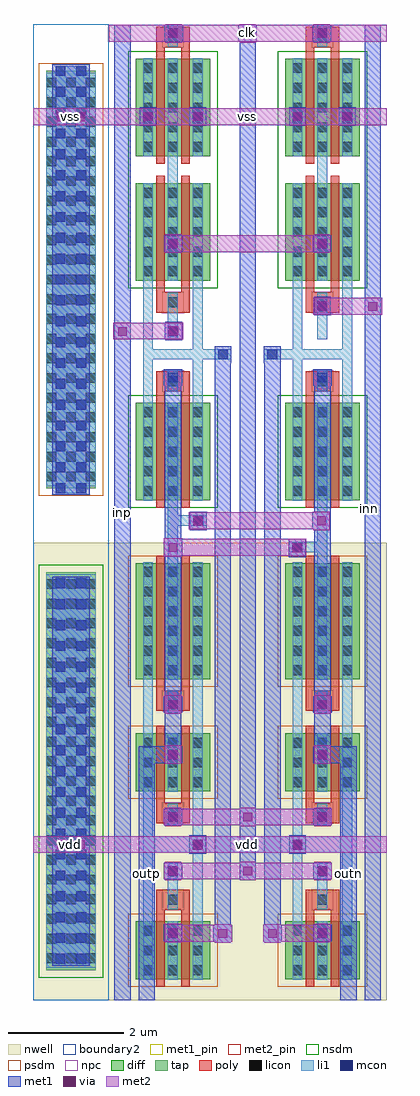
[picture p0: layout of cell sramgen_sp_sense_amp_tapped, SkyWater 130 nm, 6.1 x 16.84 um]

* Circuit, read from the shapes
.subckt sramgen_sp_sense_amp_tapped clk inn inp outn outp vdd vss
XM1 outn outp n1 vss sky130_fd_pr__nfet_01v8 w=1.68 l=0.15 m=2
XM2 n2 inp n1 vss sky130_fd_pr__nfet_01v8 w=1.68 l=0.15 m=2
XM3 n2 clk vss vss sky130_fd_pr__nfet_01v8 w=1.68 l=0.15 m=4
XM4 outp outn n3 vss sky130_fd_pr__nfet_01v8 w=1.68 l=0.15 m=2
XM5 n2 inn n3 vss sky130_fd_pr__nfet_01v8 w=1.68 l=0.15 m=2
XM6 n1 clk vdd vdd sky130_fd_pr__pfet_01v8 w=1 l=0.15 m=2
XM7 outp clk vdd vdd sky130_fd_pr__pfet_01v8 w=1 l=0.15 m=2
XM8 outn outp vdd vdd sky130_fd_pr__pfet_01v8 w=2 l=0.15 m=2
XM9 n3 clk vdd vdd sky130_fd_pr__pfet_01v8 w=1 l=0.15 m=2
XM10 outn clk vdd vdd sky130_fd_pr__pfet_01v8 w=1 l=0.15 m=2
XM11 outp outn vdd vdd sky130_fd_pr__pfet_01v8 w=2 l=0.15 m=2
.ends

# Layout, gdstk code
import gdstk
lib = gdstk.Library(unit=1e-6, precision=1e-09)
def R(c, l, rs):  # rectangles x0, y0, x1, y1
    for r in rs: c.add(gdstk.rectangle(r[:2], r[2:], *l))
def A(c, l, x, y, w, h, nx, ny, dx, dy):  # array of equal rectangles
    R(c, l, [(x+i*dx, y+j*dy, x+i*dx+w, y+j*dy+h) for i in range(nx) for j in range(ny)])
def P(c, l, *ps):  # polygons
    for p in ps: c.add(gdstk.Polygon(p, *l))
nwell = (64, 20)
diff = (65, 20)
tap = (65, 44)
poly = (66, 20)
licon = (66, 44)
li1 = (67, 20)
mcon = (67, 44)
met1_pin = (68, 16)
met1 = (68, 20)
via = (68, 44)
met2_pin = (69, 16)
met2 = (69, 20)
nsdm = (93, 44)
psdm = (94, 20)
npc = (95, 20)
boundary2 = (236, 0)

sramgen_sp_sense_amp_tap = lib.new_cell('sramgen_sp_sense_amp_tapped')
R(sramgen_sp_sense_amp_tap, nwell, [(0,32.785,1.3,40.68), (1.3,32.785,6.1,40.68)])
R(sramgen_sp_sense_amp_tap, diff, [(1.765,33.14,3.055,34.14), (4.345,33.14,5.635,34.14), (1.765,36.385,3.055,37.385), (4.345,36.385,5.635,37.385), (1.765,38.325,3.055,40.325), (4.345,38.325,5.635,40.325), (1.765,41.41,3.055,43.09), (4.345,41.41,5.635,43.09), (1.765,45.2,3.055,46.88), (4.345,45.2,5.635,46.88), (1.765,47.35,3.055,49.03), (4.345,47.35,5.635,49.03)])
R(sramgen_sp_sense_amp_tap, tap, [(0.225,33.3,1.075,40.17), (0.225,41.615,1.075,48.825)])
R(sramgen_sp_sense_amp_tap, poly, [(2.27,34.38,2.55,34.65), (4.85,34.38,5.13,34.65), (2.27,35.875,2.55,36.145), (4.85,35.875,5.13,36.145), (2.27,37.815,2.55,38.085), (4.85,37.815,5.13,38.085), (2.27,43.33,2.55,43.6), (4.85,43.33,5.13,43.6), (2.27,44.69,2.55,44.96), (4.85,44.69,5.13,44.96), (2.27,49.27,2.55,49.54), (4.85,49.27,5.13,49.54)])
P(sramgen_sp_sense_amp_tap, poly, [(2.12,44.65),(2.12,47.01),(2.27,47.01),(2.27,45),(2.55,45),(2.55,47.01),(2.7,47.01),(2.7,44.65)],
  [(2.12,37.775),(2.12,40.455),(2.27,40.455),(2.27,38.125),(2.55,38.125),(2.55,40.455),(2.7,40.455),(2.7,37.775)],
  [(2.12,35.835),(2.12,37.515),(2.27,37.515),(2.27,36.185),(2.55,36.185),(2.55,37.515),(2.7,37.515),(2.7,35.835)],
  [(2.12,33.01),(2.12,34.69),(2.7,34.69),(2.7,33.01),(2.55,33.01),(2.55,34.34),(2.27,34.34),(2.27,33.01)],
  [(2.12,41.28),(2.12,43.64),(2.7,43.64),(2.7,41.28),(2.55,41.28),(2.55,43.29),(2.27,43.29),(2.27,41.28)],
  [(2.12,47.22),(2.12,49.58),(2.7,49.58),(2.7,47.22),(2.55,47.22),(2.55,49.23),(2.27,49.23),(2.27,47.22)],
  [(4.7,44.65),(4.7,47.01),(4.85,47.01),(4.85,45),(5.13,45),(5.13,47.01),(5.28,47.01),(5.28,44.65)],
  [(4.7,37.775),(4.7,40.455),(4.85,40.455),(4.85,38.125),(5.13,38.125),(5.13,40.455),(5.28,40.455),(5.28,37.775)],
  [(4.7,35.835),(4.7,37.515),(4.85,37.515),(4.85,36.185),(5.13,36.185),(5.13,37.515),(5.28,37.515),(5.28,35.835)],
  [(4.7,33.01),(4.7,34.69),(5.28,34.69),(5.28,33.01),(5.13,33.01),(5.13,34.34),(4.85,34.34),(4.85,33.01)],
  [(4.7,41.28),(4.7,43.64),(5.28,43.64),(5.28,41.28),(5.13,41.28),(5.13,43.29),(4.85,43.29),(4.85,41.28)],
  [(4.7,47.22),(4.7,49.58),(5.28,49.58),(5.28,47.22),(5.13,47.22),(5.13,49.23),(4.85,49.23),(4.85,47.22)])
A(sramgen_sp_sense_amp_tap, licon, 1.895, 33.215, 0.17, 0.17, 3, 3, 0.43, 0.34)
A(sramgen_sp_sense_amp_tap, licon, 4.475, 33.215, 0.17, 0.17, 3, 3, 0.43, 0.34)
A(sramgen_sp_sense_amp_tap, licon, 0.225, 33.42, 0.17, 0.17, 3, 20, 0.34, 0.34)
A(sramgen_sp_sense_amp_tap, licon, 1.895, 36.46, 0.17, 0.17, 3, 3, 0.43, 0.34)
A(sramgen_sp_sense_amp_tap, licon, 4.475, 36.46, 0.17, 0.17, 3, 3, 0.43, 0.34)
A(sramgen_sp_sense_amp_tap, licon, 1.895, 38.39, 0.17, 0.17, 3, 6, 0.43, 0.34)
A(sramgen_sp_sense_amp_tap, licon, 4.475, 38.39, 0.17, 0.17, 3, 6, 0.43, 0.34)
A(sramgen_sp_sense_amp_tap, licon, 1.895, 41.485, 0.17, 0.17, 3, 5, 0.43, 0.34)
A(sramgen_sp_sense_amp_tap, licon, 4.475, 41.485, 0.17, 0.17, 3, 5, 0.43, 0.34)
A(sramgen_sp_sense_amp_tap, licon, 0.225, 41.735, 0.17, 0.17, 3, 21, 0.34, 0.34)
A(sramgen_sp_sense_amp_tap, licon, 1.895, 45.275, 0.17, 0.17, 3, 5, 0.43, 0.34)
A(sramgen_sp_sense_amp_tap, licon, 4.475, 45.275, 0.17, 0.17, 3, 5, 0.43, 0.34)
A(sramgen_sp_sense_amp_tap, licon, 1.895, 47.425, 0.17, 0.17, 3, 5, 0.43, 0.34)
A(sramgen_sp_sense_amp_tap, licon, 4.475, 47.425, 0.17, 0.17, 3, 5, 0.43, 0.34)
R(sramgen_sp_sense_amp_tap, licon, [(2.325,34.43,2.495,34.6), (4.905,34.43,5.075,34.6), (2.325,35.925,2.495,36.095), (4.905,35.925,5.075,36.095), (2.325,37.865,2.495,38.035), (4.905,37.865,5.075,38.035), (2.325,43.38,2.495,43.55), (4.905,43.38,5.075,43.55), (2.325,44.74,2.495,44.91), (4.905,44.74,5.075,44.91), (2.325,49.32,2.495,49.49), (4.905,49.32,5.075,49.49)])
A(sramgen_sp_sense_amp_tap, li1, 1.895, 38.31, 0.17, 2.03, 3, 1, 0.43, 0)
A(sramgen_sp_sense_amp_tap, li1, 4.475, 38.31, 0.17, 2.03, 3, 1, 0.43, 0)
A(sramgen_sp_sense_amp_tap, li1, 1.895, 41.405, 0.17, 1.69, 3, 2, 0.43, 3.79)
A(sramgen_sp_sense_amp_tap, li1, 4.475, 41.405, 0.17, 1.69, 3, 2, 0.43, 3.79)
A(sramgen_sp_sense_amp_tap, li1, 1.895, 47.345, 0.17, 1.69, 3, 1, 0.43, 0)
A(sramgen_sp_sense_amp_tap, li1, 4.475, 47.345, 0.17, 1.69, 3, 1, 0.43, 0)
R(sramgen_sp_sense_amp_tap, li1, [(1.895,33.135,2.065,40.34), (1.895,33.135,2.065,34.145), (2.325,33.135,2.495,34.145), (2.325,33.135,2.495,34.145), (2.755,33.135,2.925,40.34), (2.755,33.135,2.925,34.145), (4.475,33.135,4.645,40.34), (4.475,33.135,4.645,34.145), (4.905,33.135,5.075,34.145), (4.905,33.135,5.075,34.145), (5.335,33.135,5.505,40.34), (5.335,33.135,5.505,34.145), (0.225,33.34,1.075,40.13), (0.385,33.41,0.915,40.06), (2.325,33.79,2.495,34.08), (4.905,33.79,5.075,34.08), (2.325,34.35,2.495,34.68), (2.325,34.35,2.495,34.68), (2.325,34.35,2.495,35.155), (4.905,34.35,5.075,34.68), (4.905,34.35,5.075,34.68), (4.905,34.35,5.075,35.155), (2.325,34.865,2.495,35.155), (4.905,34.865,5.075,35.155), (2.755,35.32,2.925,35.61), (4.475,35.32,4.645,35.61), (1.895,35.325,5.505,35.615), (2.325,35.8,2.495,36.09), (2.325,35.8,2.495,36.175), (4.905,35.8,5.075,36.09), (4.905,35.8,5.075,36.175), (2.325,35.845,2.495,36.175), (2.325,35.845,2.495,36.175), (4.905,35.845,5.075,36.175), (4.905,35.845,5.075,36.175), (1.895,36.38,2.065,37.39), (2.325,36.38,2.495,37.39), (2.325,36.38,2.495,37.39), (2.755,36.38,2.925,37.39), (4.475,36.38,4.645,37.39), (4.905,36.38,5.075,37.39), (4.905,36.38,5.075,37.39), (5.335,36.38,5.505,37.39), (2.325,36.875,2.495,37.165), (4.905,36.875,5.075,37.165), (2.325,37.74,2.495,38.03), (2.325,37.74,2.495,38.115), (4.905,37.74,5.075,38.03), (4.905,37.74,5.075,38.115), (2.325,37.785,2.495,38.115), (2.325,37.785,2.495,38.115), (4.905,37.785,5.075,38.115), (4.905,37.785,5.075,38.115), (2.325,38.31,2.495,42.755), (2.325,38.31,2.495,42.755), (4.905,38.31,5.075,42.755), (4.905,38.31,5.075,42.755), (4.41,40.51,4.7,40.68), (4.41,40.51,5.05,40.695), (2.335,40.97,2.99,41.155), (2.7,40.97,2.99,41.14), (1.895,41.405,2.065,46.785), (2.755,41.405,2.925,46.785), (4.475,41.405,4.645,46.785), (5.335,41.405,5.505,46.785), (0.385,41.535,0.915,48.905), (0.225,41.655,1.075,48.785), (2.325,43.3,2.495,43.675), (2.325,43.3,2.495,43.63), (2.325,43.3,2.495,43.63), (4.905,43.3,5.075,43.675), (4.905,43.3,5.075,43.63), (4.905,43.3,5.075,43.63), (2.325,43.385,2.495,43.675), (4.905,43.385,5.075,43.675), (1.94,43.755,1.945,43.76), (5.455,43.755,5.46,43.76), (3.19,43.84,3.36,44.01), (4.04,43.84,4.21,44.01), (1.945,43.845,3.42,44.015), (3.98,43.845,5.455,44.015), (2.325,44.185,2.495,44.99), (4.905,44.185,5.075,44.99), (2.325,44.245,2.495,44.415), (2.325,44.66,2.495,44.99), (2.325,44.66,2.495,44.99), (4.905,44.66,5.075,44.99), (4.905,44.66,5.075,44.99), (4.905,44.675,5.075,44.845), (2.325,45.69,2.495,45.98), (2.325,45.69,2.495,49.035), (4.905,45.69,5.075,45.98), (4.905,45.69,5.075,49.035), (1.895,47.875,2.065,48.165), (2.755,47.875,2.925,48.165), (4.475,47.875,4.645,48.165), (5.335,47.875,5.505,48.165), (2.325,49.24,2.495,49.615), (2.325,49.24,2.495,49.57), (2.325,49.24,2.495,49.57), (4.905,49.24,5.075,49.615), (4.905,49.24,5.075,49.57), (4.905,49.24,5.075,49.57), (2.325,49.325,2.495,49.615), (4.905,49.325,5.075,49.615)])
A(sramgen_sp_sense_amp_tap, mcon, 0.385, 33.41, 0.17, 0.17, 1, 19, 0, 0.36)
A(sramgen_sp_sense_amp_tap, mcon, 0.745, 33.41, 0.17, 0.17, 1, 19, 0, 0.36)
A(sramgen_sp_sense_amp_tap, mcon, 0.385, 41.535, 0.17, 0.17, 1, 21, 0, 0.36)
A(sramgen_sp_sense_amp_tap, mcon, 0.745, 41.535, 0.17, 0.17, 1, 21, 0, 0.36)
R(sramgen_sp_sense_amp_tap, mcon, [(2.325,33.85,2.495,34.02), (4.905,33.85,5.075,34.02), (2.325,34.925,2.495,35.095), (4.905,34.925,5.075,35.095), (2.755,35.38,2.925,35.55), (4.475,35.38,4.645,35.55), (2.325,35.86,2.495,36.03), (4.905,35.86,5.075,36.03), (2.325,36.935,2.495,37.105), (4.905,36.935,5.075,37.105), (2.325,37.8,2.495,37.97), (4.905,37.8,5.075,37.97), (4.47,40.51,4.64,40.68), (2.76,40.97,2.93,41.14), (2.325,43.445,2.495,43.615), (4.905,43.445,5.075,43.615), (3.19,43.84,3.36,44.01), (4.04,43.84,4.21,44.01), (2.325,44.245,2.495,44.415), (4.905,44.675,5.075,44.845), (2.325,45.75,2.495,45.92), (4.905,45.75,5.075,45.92), (1.895,47.935,2.065,48.105), (2.755,47.935,2.925,48.105), (4.475,47.935,4.645,48.105), (5.335,47.935,5.505,48.105), (2.325,49.385,2.495,49.555), (4.905,49.385,5.075,49.555)])
R(sramgen_sp_sense_amp_tap, met1_pin, [(1.4,32.785,1.68,49.615), (1.82,32.785,2.1,37.165), (5.3,32.785,5.58,37.165), (5.72,32.785,6,49.615)])
A(sramgen_sp_sense_amp_tap, met1, 2.26, 49.325, 0.32, 0.29, 3, 1, 1.28, 0)
R(sramgen_sp_sense_amp_tap, met1, [(1.4,32.785,1.68,49.615), (1.4,32.785,1.68,49.615), (1.82,32.785,2.1,37.165), (1.82,32.785,2.1,37.165), (5.3,32.785,5.58,37.165), (5.3,32.785,5.58,37.165), (5.72,32.785,6,49.615), (5.72,32.785,6,49.615), (0.325,33.38,0.975,40.09), (3.13,33.775,3.41,44.05), (3.99,33.775,4.27,44.05), (2.265,33.79,2.555,34.08), (3.11,33.79,3.43,34.08), (3.97,33.79,4.29,34.08), (4.845,33.79,5.135,34.08), (2.25,33.8,2.57,34.09), (4.83,33.8,5.15,34.09), (3.56,34.85,3.84,49.615), (2.25,34.865,2.57,35.155), (2.265,34.865,2.56,35.155), (4.83,34.865,5.15,35.155), (4.845,34.865,5.135,35.155), (2.695,35.305,2.985,35.625), (2.695,35.305,2.985,35.595), (4.415,35.305,4.705,35.625), (4.415,35.305,4.705,35.595), (0.33,35.34,0.97,35.6), (2.25,35.8,2.57,36.09), (2.265,35.8,2.555,36.09), (4.83,35.8,5.15,36.09), (4.845,35.8,5.135,36.09), (2.27,36.86,2.55,43.675), (4.85,36.86,5.13,43.675), (4.85,36.86,5.13,43.35), (1.82,36.875,2.57,37.165), (2.25,36.875,2.57,37.165), (2.265,36.875,2.555,37.165), (4.83,36.875,5.15,37.165), (4.83,36.875,5.58,37.165), (4.845,36.875,5.135,37.165), (2.25,37.74,2.57,38.03), (2.25,37.74,2.57,38.03), (2.265,37.74,2.555,38.03), (4.83,37.74,5.15,38.03), (4.83,37.74,5.15,38.03), (4.845,37.74,5.135,38.03), (4.41,40.43,4.7,40.75), (2.25,40.435,2.57,40.755), (4.41,40.45,4.7,40.74), (2.7,40.895,2.99,41.215), (2.7,40.91,2.99,41.2), (4.815,40.91,5.135,41.2), (0.325,41.505,0.975,48.935), (2.25,43.385,2.57,43.675), (2.265,43.385,2.555,43.675), (4.83,43.385,5.15,43.675), (4.845,43.385,5.135,43.675), (3.13,43.78,3.42,44.07), (3.98,43.78,4.27,44.07), (1.4,44.165,1.68,44.455), (1.4,44.165,1.68,44.485), (2.28,44.175,2.57,44.495), (2.265,44.185,2.555,44.475), (5.72,44.595,6,44.885), (5.72,44.595,6,44.915), (4.845,44.6,5.135,44.92), (2.265,45.69,2.555,45.98), (2.265,45.69,2.555,45.98), (4.845,45.69,5.135,45.98), (4.845,45.69,5.135,45.98), (2.26,45.695,2.58,45.985), (4.82,45.695,5.14,45.985), (1.835,47.875,2.125,48.195), (1.835,47.875,2.125,48.165), (2.695,47.875,2.985,48.195), (2.695,47.875,2.985,48.165), (4.415,47.875,4.705,48.195), (4.415,47.875,4.705,48.165), (5.275,47.875,5.565,48.195), (5.275,47.875,5.565,48.165), (0.33,47.9,0.97,48.16), (2.265,49.325,2.555,49.615), (4.845,49.325,5.135,49.615)])
A(sramgen_sp_sense_amp_tap, via, 2.335, 34.935, 0.15, 0.15, 3, 2, 1.29, 0.935)
A(sramgen_sp_sense_amp_tap, via, 2.345, 49.395, 0.15, 0.15, 3, 1, 1.28, 0)
R(sramgen_sp_sense_amp_tap, via, [(3.195,33.86,3.345,34.01), (4.055,33.86,4.205,34.01), (2.335,33.87,2.485,34.02), (4.915,33.87,5.065,34.02), (2.765,35.39,2.915,35.54), (4.485,35.39,4.635,35.54), (0.415,35.395,0.565,35.545), (0.735,35.395,0.885,35.545), (2.335,36.945,2.485,37.095), (4.915,36.945,5.065,37.095), (2.335,37.81,2.485,37.96), (4.915,37.81,5.065,37.96), (4.48,40.515,4.63,40.665), (2.335,40.52,2.485,40.67), (2.77,40.98,2.92,41.13), (4.9,40.98,5.05,41.13), (1.465,44.25,1.615,44.4), (2.35,44.26,2.5,44.41), (5.785,44.68,5.935,44.83), (4.915,44.685,5.065,44.835), (2.345,45.765,2.495,45.915), (4.905,45.765,5.055,45.915), (0.415,47.955,0.565,48.105), (0.735,47.955,0.885,48.105), (1.905,47.96,2.055,48.11), (2.765,47.96,2.915,48.11), (4.485,47.96,4.635,48.11), (5.345,47.96,5.495,48.11)])
R(sramgen_sp_sense_amp_tap, met2_pin, [(0,35.325,1.3,35.615), (0,35.325,1.3,35.615), (1.3,35.325,6.1,35.615), (1.3,35.325,6.1,35.615), (0,47.885,1.3,48.175), (0,47.885,1.3,48.175), (1.3,47.885,6.1,48.175), (1.3,47.885,6.1,48.175), (1.3,49.325,6.1,49.615), (1.3,49.325,6.1,49.615)])
A(sramgen_sp_sense_amp_tap, met2, 2.27, 34.85, 0.28, 0.32, 3, 2, 1.29, 0.935)
A(sramgen_sp_sense_amp_tap, met2, 1.82, 47.895, 0.32, 0.28, 3, 1, 0.43, 0)
A(sramgen_sp_sense_amp_tap, met2, 4.4, 47.895, 0.32, 0.28, 3, 1, 0.43, 0)
A(sramgen_sp_sense_amp_tap, met2, 2.28, 49.31, 0.28, 0.32, 3, 1, 1.28, 0)
R(sramgen_sp_sense_amp_tap, met2, [(3.13,33.775,3.41,34.095), (3.99,33.775,4.27,34.095), (2.27,33.785,2.55,34.105), (4.85,33.785,5.13,34.105), (2.265,33.79,3.43,34.08), (3.97,33.79,5.135,34.08), (2.25,34.865,5.15,35.155), (0,35.325,1.3,35.615), (0,35.325,1.3,35.615), (0,35.325,1.3,35.615), (1.3,35.325,6.1,35.615), (1.3,35.325,6.1,35.615), (1.3,35.325,6.1,35.615), (2.68,35.325,3,35.605), (4.4,35.325,4.72,35.605), (0.33,35.34,0.97,35.6), (2.25,35.8,5.15,36.09), (2.27,36.86,2.55,37.18), (4.85,36.86,5.13,37.18), (2.27,37.725,2.55,38.045), (4.85,37.725,5.13,38.045), (2.25,40.435,2.57,40.755), (4.395,40.45,4.715,40.73), (2.25,40.455,4.715,40.745), (4.835,40.895,5.115,41.215), (2.685,40.91,5.115,41.2), (2.685,40.915,3.005,41.195), (1.38,44.185,2.585,44.475), (2.265,44.195,2.585,44.475), (4.83,44.615,6.02,44.905), (2.28,45.68,2.56,46), (4.84,45.68,5.12,46), (2.265,45.69,5.135,45.98), (0,47.885,1.3,48.175), (0,47.885,1.3,48.175), (0,47.885,1.3,48.175), (1.3,47.885,6.1,48.175), (1.3,47.885,6.1,48.175), (1.3,47.885,6.1,48.175), (0.33,47.9,0.97,48.16), (1.3,49.325,6.1,49.615), (1.3,49.325,6.1,49.615), (1.3,49.325,6.1,49.615), (2.265,49.325,5.135,49.615), (3.85,49.325,4.855,49.615)])
R(sramgen_sp_sense_amp_tap, nsdm, [(0.095,33.17,1.205,40.3), (1.635,41.28,3.185,43.22), (4.215,41.28,5.765,43.22), (1.635,45.07,3.185,47.01), (4.215,45.07,5.765,47.01), (1.635,47.01,3.185,49.16), (4.215,47.01,5.765,49.16)])
R(sramgen_sp_sense_amp_tap, psdm, [(1.635,33.01,3.185,34.27), (4.215,33.01,5.765,34.27), (1.635,36.255,3.185,37.515), (4.215,36.255,5.765,37.515), (1.635,38.195,3.185,40.455), (4.215,38.195,5.765,40.455), (0.095,41.485,1.205,48.955)])
R(sramgen_sp_sense_amp_tap, npc, [(2.225,34.33,2.595,34.7), (2.305,34.33,2.515,34.7), (4.805,34.33,5.175,34.7), (4.885,34.33,5.095,34.7), (2.225,35.825,2.595,36.195), (2.305,35.825,2.515,36.195), (4.805,35.825,5.175,36.195), (4.885,35.825,5.095,36.195), (2.225,37.765,2.595,38.135), (2.305,37.765,2.515,38.135), (4.805,37.765,5.175,38.135), (4.885,37.765,5.095,38.135), (2.225,43.28,2.595,43.65), (2.305,43.28,2.515,43.65), (4.805,43.28,5.175,43.65), (4.885,43.28,5.095,43.65), (2.225,44.64,2.595,45.01), (2.305,44.64,2.515,45.01), (4.805,44.64,5.175,45.01), (4.885,44.64,5.095,45.01), (2.225,49.22,2.595,49.59), (2.305,49.22,2.515,49.59), (4.805,49.22,5.175,49.59), (4.885,49.22,5.095,49.59)])
R(sramgen_sp_sense_amp_tap, boundary2, [(0,32.785,1.3,49.63)])
sramgen_sp_sense_amp_tap.add(gdstk.Label('clk', (3.701,49.477), layer=69, texttype=5))
sramgen_sp_sense_amp_tap.add(gdstk.Label('vss', (0.65,48.03), layer=69, texttype=5))
sramgen_sp_sense_amp_tap.add(gdstk.Label('vdd', (0.65,35.47), layer=69, texttype=5))
sramgen_sp_sense_amp_tap.add(gdstk.Label('vss', (0.65,48.03), layer=69, texttype=5))
sramgen_sp_sense_amp_tap.add(gdstk.Label('vdd', (0.65,35.47), layer=69, texttype=5))
sramgen_sp_sense_amp_tap.add(gdstk.Label('vdd', (3.7,35.47), layer=69, texttype=5))
sramgen_sp_sense_amp_tap.add(gdstk.Label('vss', (3.7,48.03), layer=69, texttype=5))
sramgen_sp_sense_amp_tap.add(gdstk.Label('vss', (3.7,48.03), layer=69, texttype=5))
sramgen_sp_sense_amp_tap.add(gdstk.Label('vdd', (3.7,35.47), layer=69, texttype=5))
sramgen_sp_sense_amp_tap.add(gdstk.Label('inn', (5.81,41.262), layer=68, texttype=5))
sramgen_sp_sense_amp_tap.add(gdstk.Label('inp', (1.54,41.2), layer=68, texttype=5))
sramgen_sp_sense_amp_tap.add(gdstk.Label('outp', (1.96,34.975), layer=68, texttype=5))
sramgen_sp_sense_amp_tap.add(gdstk.Label('outn', (5.44,34.975), layer=68, texttype=5))

lib.write_gds('sramgen_sp_sense_amp_tapped.gds')
